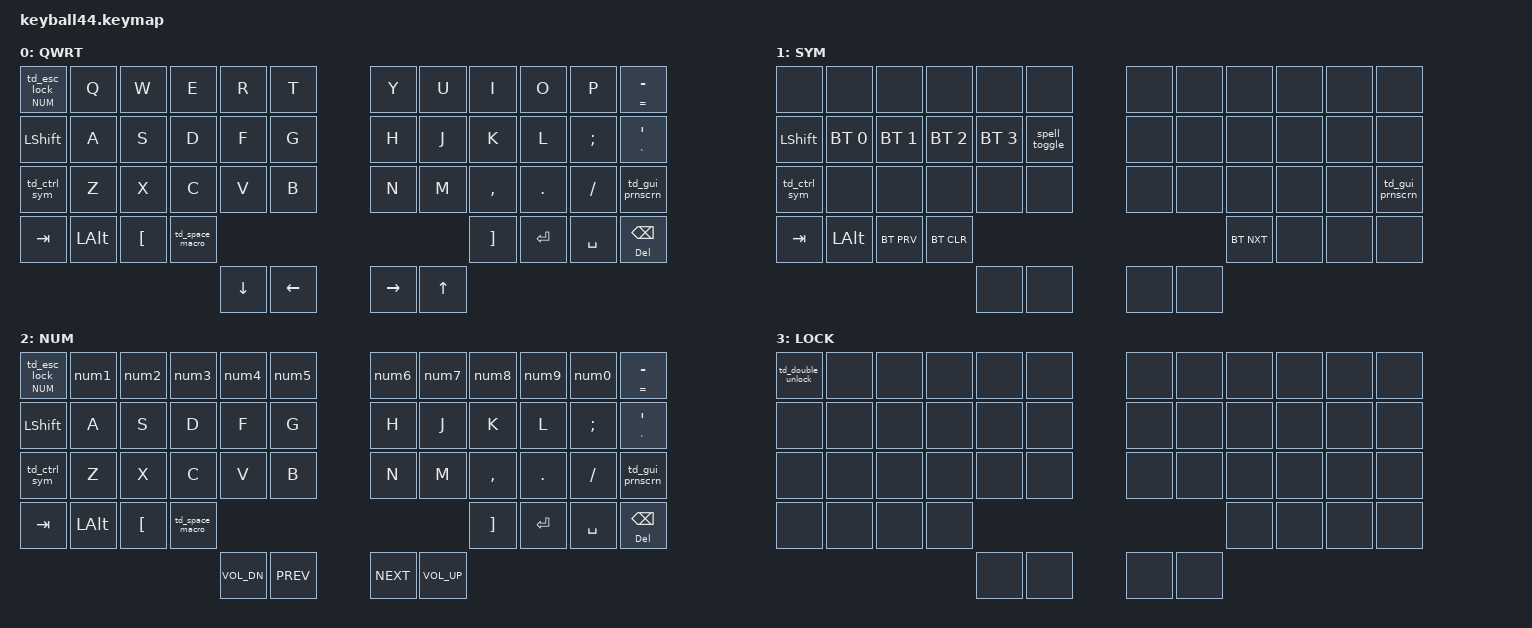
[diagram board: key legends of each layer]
// Keyball44 ZMK Configuration
// Layer definitions
#define DEFAULT 0
#define SYM     1
#define NUM     2
#define LOCK    3

// Includes
#include <behaviors/mouse_keys.dtsi>
#include <dt-bindings/zmk/mouse.h>
#include <behaviors.dtsi>
#include <dt-bindings/zmk/bt.h>
#include <dt-bindings/zmk/keys.h>

// Global behavior overrides
&lt {
    tapping-term-ms = <240>;
    flavor = "balanced";
    quick-tap-ms = <150>;
};

&mt {
    tapping-term-ms = <200>;
    flavor = "tap-preferred";
    quick-tap-ms = <150>;
};

&caps_word { 
    continue-list = <UNDERSCORE MINUS>; 
};

/ {
    macros {
        spell_toggle: spell_toggle {
            compatible = "zmk,behavior-macro";
            label = "SPELL_TOGGLE";
            #binding-cells = <0>;
            bindings = <&macro_tap>, <&kp F24>;
        };
    };

    behaviors {
    // ===== PRIMARY BEHAVIORS =====
        
        // NUM layer auto-layer behavior - stays active on number keys
        Auto_Num: Auto_Num {
            compatible = "zmk,behavior-auto-layer";
            label = "AUTO_NUM";
            #binding-cells = <1>;
            continue-list = <PLUS MINUS STAR EQUAL COMMA DOT FSLH BSLH PIPE UNDER PERCENT HASH AT EXCL QMARK COLON SEMI LPAR RPAR LBKT RBKT LBRC RBRC LT GT AMPS CARET TILDE GRAVE DLLR SPACE BSPC DEL LSHFT RSHFT LCTRL RCTRL LALT RALT LGUI RGUI C_VOL_DN C_VOL_UP C_PREV C_NEXT>;
            timeout-ms = <5000>; // 5 seconds when idle
        };

        // Number key macros that reset the auto-layer timer
        num0: num0 {
            compatible = "zmk,behavior-macro";
            label = "NUM0";
            #binding-cells = <0>;
            bindings = <&kp NUMBER_0>, <&Auto_Num NUM>;
        };

        num1: num1 {
            compatible = "zmk,behavior-macro";
            label = "NUM1";
            #binding-cells = <0>;
            bindings = <&kp NUMBER_1>, <&Auto_Num NUM>;
        };

        num2: num2 {
            compatible = "zmk,behavior-macro";
            label = "NUM2";
            #binding-cells = <0>;
            bindings = <&kp NUMBER_2>, <&Auto_Num NUM>;
        };

        num3: num3 {
            compatible = "zmk,behavior-macro";
            label = "NUM3";
            #binding-cells = <0>;
            bindings = <&kp NUMBER_3>, <&Auto_Num NUM>;
        };

        num4: num4 {
            compatible = "zmk,behavior-macro";
            label = "NUM4";
            #binding-cells = <0>;
            bindings = <&kp NUMBER_4>, <&Auto_Num NUM>;
        };

        num5: num5 {
            compatible = "zmk,behavior-macro";
            label = "NUM5";
            #binding-cells = <0>;
            bindings = <&kp NUMBER_5>, <&Auto_Num NUM>;
        };

        num6: num6 {
            compatible = "zmk,behavior-macro";
            label = "NUM6";
            #binding-cells = <0>;
            bindings = <&kp NUMBER_6>, <&Auto_Num NUM>;
        };

        num7: num7 {
            compatible = "zmk,behavior-macro";
            label = "NUM7";
            #binding-cells = <0>;
            bindings = <&kp NUMBER_7>, <&Auto_Num NUM>;
        };

        num8: num8 {
            compatible = "zmk,behavior-macro";
            label = "NUM8";
            #binding-cells = <0>;
            bindings = <&kp NUMBER_8>, <&Auto_Num NUM>;
        };

        num9: num9 {
            compatible = "zmk,behavior-macro";
            label = "NUM9";
            #binding-cells = <0>;
            bindings = <&kp NUMBER_9>, <&Auto_Num NUM>;
        };

        // Main ESC key behavior:
        // - Tap = ESC (normal function)  
        // - Hold + release = NUM layer with auto-layer behavior
        // - Double tap = LOCK layer
        ht_main: ht_main {
            compatible = "zmk,behavior-hold-tap";
            label = "HT_MAIN";
            #binding-cells = <2>;
            flavor = "tap-preferred";
            tapping-term-ms = <200>;
            quick-tap-ms = <150>;
            bindings = <&Auto_Num>, <&td_esc_lock>;
        }; 

        // Single tap = ESC, Double tap = LOCK
        td_esc_lock: td_esc_lock {
            compatible = "zmk,behavior-tap-dance";
            label = "TD_ESC_LOCK";
            #binding-cells = <0>;
            bindings = <&kp ESC>, <&to LOCK>;
            tapping-term-ms = <200>;
        };

        // Double-tap to unlock from sleep/travel mode
        td_double_unlock: td_double_unlock {
            compatible = "zmk,behavior-tap-dance";
            label = "TD_DOUBLE_UNLOCK";
            #binding-cells = <0>;
            bindings = <&none>, <&macro_unlock_to_default>;
            tapping-term-ms = <400>;
        };

    // ===== LAYER TOGGLES =====
        
        // Control with SYM layer toggle
        td_ctrl_sym: td_ctrl_sym {
            compatible = "zmk,behavior-tap-dance";
            label = "TD_CTRL_SYM";
            #binding-cells = <0>;
            bindings = <&kp LEFT_CONTROL>, <&tog SYM>;
            tapping-term-ms = <200>;
        };

        // Unlock from sleep and return to default layer
        macro_unlock_to_default: macro_unlock_to_default {
            compatible = "zmk,behavior-macro";
            label = "MACRO_UNLOCK_DEFAULT";
            #binding-cells = <0>;
            bindings = <&to DEFAULT &kp ESCAPE>;
        };

    // ===== UTILITY TAP DANCES =====
        
        // GUI with Print Screen
        td_gui_prnscrn: td_gui_prnscrn {
            compatible = "zmk,behavior-tap-dance";
            label = "TD_GUI_PRNSCRN";
            #binding-cells = <0>;
            bindings = <&kp LEFT_GUI>, <&kp PRINTSCREEN>;
            tapping-term-ms = <200>;
        };

        // Backspace with Delete (hold for delete)
        td_bs_del: td_bs_del {
            compatible = "zmk,behavior-hold-tap";
            label = "TD_BS_DEL";
            #binding-cells = <2>;
            flavor = "tap-preferred";
            tapping-term-ms = <200>;
            quick-tap-ms = <150>;
            bindings = <&kp>, <&kp>;
        };

        // Space with punctuation macros
        td_space_macro: td_space_macro {
            compatible = "zmk,behavior-tap-dance";
            label = "TD_SPACE_MACRO";
            #binding-cells = <0>;
            bindings = <&kp SPACE>, <&macro_dot_space>, <&macro_comma_space>;
            tapping-term-ms = <200>;
        };

        // Custom sticky shift with short timeout for dot space
        sk_short: sk_short {
            compatible = "zmk,behavior-sticky-key";
            label = "SK_SHORT";
            #binding-cells = <1>;
            bindings = <&kp>;
            release-after-ms = <2000>;  // Auto-release after 2 seconds
            quick-release;  // Release immediately after next key
        };

    // ===== MACROS =====
        
        // Comma + Space
        macro_comma_space: macro_comma_space {
            compatible = "zmk,behavior-macro";
            label = "MACRO_COMMA_SPACE";
            #binding-cells = <0>;
            bindings = <&kp COMMA &kp SPACE>;
        };

        // Dot + Space + Sticky Shift for next character
        macro_dot_space: macro_dot_space {
            compatible = "zmk,behavior-macro";
            label = "MACRO_DOT_SPACE";
            #binding-cells = <0>;
            bindings = <&kp DOT &kp SPACE &sk_short LEFT_SHIFT>;
        }; 

    };
    
    // ===== KEYMAP =====
    keymap {
        compatible = "zmk,keymap";

        default_layer {
            label = "QWRT";
            bindings = <
               &ht_main NUM 0  &kp Q  &kp W  &kp E  &kp R  &kp T        &kp Y  &kp U  &kp I  &kp O  &kp P  &mt EQUAL MINUS
               &kp LEFT_SHIFT  &kp A  &kp S  &kp D  &kp F  &kp G        &kp H  &kp J  &kp K  &kp L  &kp SEMI  &mt GRAVE SQT
               &td_ctrl_sym    &kp Z  &kp X  &kp C  &kp V  &kp B        &kp N  &kp M  &kp COMMA  &kp DOT  &kp SLASH  &td_gui_prnscrn
               &kp TAB         &kp LALT  &kp LEFT_BRACKET  &td_space_macro  &kp RIGHT_BRACKET    &kp RET  &kp SPACE    &td_bs_del DELETE BACKSPACE

               &kp DOWN  &kp LEFT  &kp RIGHT  &kp UP
            >;
        };

        symbol_layer {
            label = "SYM";
            bindings = <
               &none  &none  &none  &none  &none  &none        &none  &none  &none  &none  &none  &none
               &kp LEFT_SHIFT  &bt BT_SEL 0  &bt BT_SEL 1  &bt BT_SEL 2  &bt BT_SEL 3  &spell_toggle    &none  &none  &none  &none  &none  &none
               &td_ctrl_sym    &none  &none  &none  &none  &none        &none  &none  &none  &none  &none  &td_gui_prnscrn
               &kp TAB         &kp LALT  &bt BT_PRV  &bt BT_CLR  &bt BT_NXT    &none  &none    &none

               &none  &none  &none  &none
            >;
        };

        function_layer {
            label = "NUM";
            bindings = <
               &ht_main NUM 0  &num1  &num2  &num3  &num4  &num5    &num6  &num7  &num8  &num9  &num0  &mt EQUAL MINUS
               &kp LEFT_SHIFT  &kp A  &kp S  &kp D  &kp F  &kp G        &kp H  &kp J  &kp K  &kp L  &kp SEMI  &mt GRAVE SQT
               &td_ctrl_sym    &kp Z  &kp X  &kp C  &kp V  &kp B        &kp N  &kp M  &kp COMMA  &kp DOT  &kp SLASH  &td_gui_prnscrn
               &kp TAB         &kp LALT  &kp LEFT_BRACKET  &td_space_macro  &kp RIGHT_BRACKET    &kp RET  &kp SPACE    &td_bs_del DELETE BACKSPACE

               &kp C_VOL_DN  &kp C_PREV  &kp C_NEXT  &kp C_VOL_UP
            >;
        };
        
        sleep_layer {
            label = "LOCK";
            bindings = <
               &td_double_unlock  &none  &none  &none  &none  &none        &none  &none  &none  &none  &none  &none
               &none             &none  &none  &none  &none  &none        &none  &none  &none  &none  &none  &none
               &none             &none  &none  &none  &none  &none        &none  &none  &none  &none  &none  &none
               &none             &none  &none  &none  &none    &none  &none    &none
               
               &none  &none  &none  &none
            >;
        };
    };
};

// Enhanced scroll behavior configuration
&msc {
    time-to-max-speed-ms = <300>;   // How quickly to reach max scroll speed
    acceleration-exponent = <2>;    // Higher = more aggressive acceleration
};
